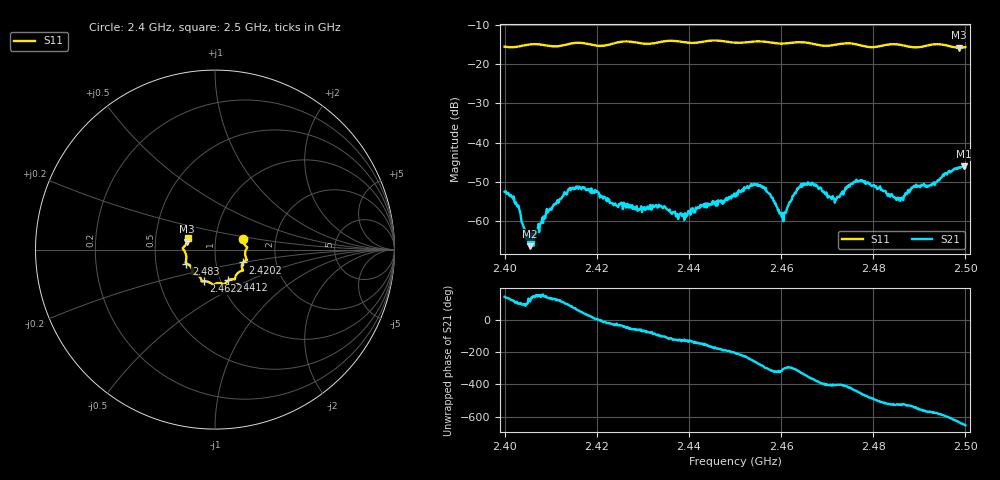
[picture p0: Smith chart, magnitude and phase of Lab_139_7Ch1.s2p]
# Hz S RI R 50
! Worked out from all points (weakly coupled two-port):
!   601 points, 2.4 GHz to 2.5 GHz, reference 50 ohm
!   highest |S21| = -46.05 dB at 2.4997 GHz (marker M1); lowest = -66.4 dB at 2.4055 GHz (marker M2)
!   lowest |S11| = -15.8 dB at 2.4987 GHz (marker M3), VSWR 1.39, Z = 36.4 + j3.31 ohm
!   |S11| at or under -10 dB: start of sweep to end of sweep
!   S12 and S22 are empty: the file has one direction only
!   S11 on the Smith chart (normalised r, x): 2.4 GHz: 1.36, +0.17; 2.4202 GHz: 1.35, -0.20; 2.4412 GHz: 1.09, -0.39; 2.4622 GHz: 0.83, -0.30; 2.483 GHz: 0.72, -0.12; 2.5 GHz: 0.73, +0.09
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2.4e9  0.1563 0.0606  -0.00191 0.00138  0 0  0 0
2.4025e9  0.1632 0.0313  -0.00049 0.00165  0 0  0 0
2.4055e9  0.1782 0.0143  -0.000205 0.000431  0 0  0 0
2.4095e9  0.1713 -0.00274  -0.000982 0.000893  0 0  0 0
2.416667e9  0.1776 -0.0582  0.00161 0.00196  0 0  0 0
2.420167e9  0.1562 -0.0719  0.00236 0.000146  0 0  0 0
2.424167e9  0.153 -0.1085  0.00137 -0.000807  0 0  0 0
2.433333e9  0.1132 -0.1523  -1.06e-05 -0.00151  0 0  0 0
2.441167e9  0.075 -0.1714  -0.00105 -0.000798  0 0  0 0
2.45e9  0.0267 -0.1862  -0.0019 0.000809  0 0  0 0
2.455833e9  -0.0132 -0.1945  0.000603 0.00271  0 0  0 0
2.460167e9  -0.0446 -0.1777  0.000813 0.000781  0 0  0 0
2.462167e9  -0.063 -0.1764  0.000864 0.00161  0 0  0 0
2.466667e9  -0.0766 -0.1667  0.00307 -0.000264  0 0  0 0
2.4715e9  -0.1105 -0.1372  0.00146 -0.00129  0 0  0 0
2.476833e9  -0.1249 -0.1246  0.000101 -0.00322  0 0  0 0
2.483e9  -0.1591 -0.0779  -0.00206 -0.00077  0 0  0 0
2.483333e9  -0.1608 -0.0774  -0.00212 -0.00066  0 0  0 0
2.486e9  -0.1626 -0.0678  -0.00189 -0.00051  0 0  0 0
2.498667e9  -0.1559 0.0443  0.000402 0.00484  0 0  0 0
2.499667e9  -0.153 0.0582  0.00155 0.00473  0 0  0 0
2.5e9  -0.1529 0.0627  0.002 0.00434  0 0  0 0
